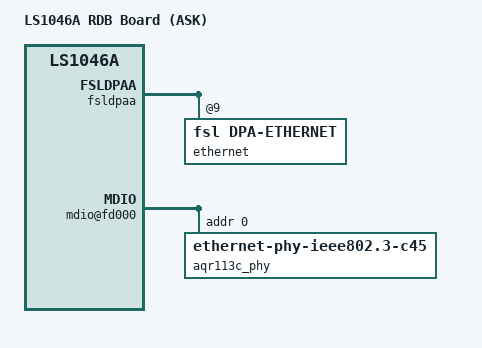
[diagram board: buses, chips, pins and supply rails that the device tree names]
// SPDX-License-Identifier: (GPL-2.0+ OR MIT)
/*
 * LS1046A-RDB with the NXP SDK DPAA/FMan drivers and ASK (CDX) fast path.
 *
 * The board part comes from mainline fsl-ls1046a-rdb.dts. The SDK/ASK part
 * (extended-args, fsl,dpaa bus, offline ports, FMan PCD sub-modules) follows
 * NXP's fsl-ls1046a-rdb-sdk.dts (lf-6.12.49-2.2.0) and mono-gateway-dk.dts,
 * and was checked against the device tree shipped in NXP ASK 10.3.0.B1 for
 * this board.
 *
 * Port map (SDK naming, as NXP ASK): eth0..eth3 = MAC3..MAC6 (1G),
 * eth4 = MAC9 (10GBase-T, AQR113C on this board), eth5 = MAC10 (SFP+).
 */

#include "fsl-ls1046a-rdb.dts"
#include "qoriq-qman-portals-sdk.dtsi"
#include "qoriq-bman-portals-sdk.dtsi"

/ {
	model = "LS1046A RDB Board (ASK)";
	compatible = "fsl,ls1046a-rdb", "fsl,ls1046a";

	cpus {
		fman0-extended-args {
			cell-index = <0x00>;
			compatible = "fsl,fman-extended-args";
			total-fifo-size = <0x3e500>;

			/* Offline ports for CDX - cell-index overridden for SDK compatibility:
			 * fman0_oh_0x3 (port@83000) = cell-index 1 (SDK style)
			 * fman0_oh_0x4 (port@84000) = cell-index 2 (SDK style)
			 */
			fman0_oh_0x3-extended-args {
				cell-index = <0x01>;  /* matches port@83000 SDK cell-index */
				compatible = "fsl,fman-port-op-extended-args";
				fifo-size = <0x3200 0x00>;
				buffer-layout = <0x60 0x40>;
			};

			fman0_oh_0x4-extended-args {
				cell-index = <0x02>;  /* matches port@84000 SDK cell-index */
				compatible = "fsl,fman-port-op-extended-args";
				/* Frames need room for the offline-port pipeline
				 * and internal context as well as the frame itself.
				 */
				fifo-size = <0x3200 0x00>;
				buffer-layout = <0x60 0x40>;
			};

			/* All 1G ports need extended-args (SDK driver requirement) */

			/* MAC1 (ethernet@e0000) - cell-index 0 - disabled but needed */
			fman0_rx0-extended-args {
				cell-index = <0x00>;
				compatible = "fsl,fman-port-1g-rx-extended-args";
				fifo-size = <0x3200 0x00>;
				buffer-layout = <0x60 0x40>;
				vsp-window = <0x02 0x00>;
			};

			fman0_tx0-extended-args {
				cell-index = <0x00>;
				compatible = "fsl,fman-port-1g-tx-extended-args";
				fifo-size = <0x3200 0x00>;
				buffer-layout = <0x60 0x40>;
			};

			/* MAC2 (ethernet@e2000) - cell-index 1 */
			fman0_rx1-extended-args {
				cell-index = <0x01>;
				compatible = "fsl,fman-port-1g-rx-extended-args";
				fifo-size = <0x3200 0x00>;
				buffer-layout = <0x60 0x40>;
				vsp-window = <0x02 0x00>;
			};

			fman0_tx1-extended-args {
				cell-index = <0x01>;
				compatible = "fsl,fman-port-1g-tx-extended-args";
				fifo-size = <0x3200 0x00>;
				buffer-layout = <0x60 0x40>;
			};

			/* MAC3 (ethernet@e4000) - cell-index 2 - disabled but needed */
			fman0_rx2-extended-args {
				cell-index = <0x02>;
				compatible = "fsl,fman-port-1g-rx-extended-args";
				fifo-size = <0x3200 0x00>;
				buffer-layout = <0x60 0x40>;
				vsp-window = <0x02 0x00>;
			};

			fman0_tx2-extended-args {
				cell-index = <0x02>;
				compatible = "fsl,fman-port-1g-tx-extended-args";
				fifo-size = <0x3200 0x00>;
				buffer-layout = <0x60 0x40>;
			};

			/* MAC4 (ethernet@e6000) - cell-index 3 - disabled but needed */
			fman0_rx3-extended-args {
				cell-index = <0x03>;
				compatible = "fsl,fman-port-1g-rx-extended-args";
				fifo-size = <0x3200 0x00>;
				buffer-layout = <0x60 0x40>;
				vsp-window = <0x02 0x00>;
			};

			fman0_tx3-extended-args {
				cell-index = <0x03>;
				compatible = "fsl,fman-port-1g-tx-extended-args";
				fifo-size = <0x3200 0x00>;
				buffer-layout = <0x60 0x40>;
			};

			/* MAC5 (ethernet@e8000) - cell-index 4 */
			fman0_rx4-extended-args {
				cell-index = <0x04>;
				compatible = "fsl,fman-port-1g-rx-extended-args";
				fifo-size = <0x3200 0x00>;
				buffer-layout = <0x60 0x40>;
				vsp-window = <0x02 0x00>;
			};

			fman0_tx4-extended-args {
				cell-index = <0x04>;
				compatible = "fsl,fman-port-1g-tx-extended-args";
				fifo-size = <0x3200 0x00>;
				buffer-layout = <0x60 0x40>;
			};

			/* MAC6 (ethernet@ea000) - cell-index 5 */
			fman0_rx5-extended-args {
				cell-index = <0x05>;
				compatible = "fsl,fman-port-1g-rx-extended-args";
				fifo-size = <0x3200 0x00>;
				buffer-layout = <0x60 0x40>;
				vsp-window = <0x02 0x00>;
			};

			fman0_tx5-extended-args {
				cell-index = <0x05>;
				compatible = "fsl,fman-port-1g-tx-extended-args";
				fifo-size = <0x3200 0x00>;
				buffer-layout = <0x60 0x40>;
			};

			/* MAC9 (ethernet@f0000) - 10G cell-index 0 */
			fman0_rx6-extended-args {
				cell-index = <0x00>;
				compatible = "fsl,fman-port-10g-rx-extended-args";
				fifo-size = <0x6000 0x00>;
				buffer-layout = <0x60 0x40>;
				vsp-window = <0x02 0x00>;
			};

			fman0_tx6-extended-args {
				cell-index = <0x00>;
				compatible = "fsl,fman-port-10g-tx-extended-args";
				fifo-size = <0x4000 0x00>;
				buffer-layout = <0x60 0x40>;
			};

			/* MAC10 (ethernet@f2000) - 10G cell-index 1 */
			fman0_rx7-extended-args {
				cell-index = <0x01>;
				compatible = "fsl,fman-port-10g-rx-extended-args";
				fifo-size = <0x6000 0x00>;
				buffer-layout = <0x60 0x40>;
				vsp-window = <0x02 0x00>;
			};

			fman0_tx7-extended-args {
				cell-index = <0x01>;
				compatible = "fsl,fman-port-10g-tx-extended-args";
				fifo-size = <0x4000 0x00>;
				buffer-layout = <0x60 0x40>;
			};
		};
	};
};

&bman_fbpr {
	compatible = "fsl,bman-fbpr";
	alloc-ranges = <0 0 0x10000 0>;
};
&qman_fqd {
	compatible = "fsl,qman-fqd";
	alloc-ranges = <0 0 0x10000 0>;
};
&qman_pfdr {
	compatible = "fsl,qman-pfdr";
	alloc-ranges = <0 0 0x10000 0>;
};

&soc {
	/delete-property/ dma-coherent;

	#include "qoriq-dpaa-eth.dtsi"

	pcie@3400000 {
		/delete-property/ iommu-map;
	};

	pcie@3500000 {
		/delete-property/ iommu-map;
	};

	pcie@3600000 {
		/delete-property/ iommu-map;
	};

	/delete-node/ iommu@9000000;
};

&fsldpaa {
	ethernet@0 {
		status = "disabled";  /* MAC1 - not wired on LS1046A-RDB */
	};
	ethernet@1 {
		status = "disabled";  /* MAC2 - not wired on LS1046A-RDB */
	};

	/* MAC10 - not in qoriq-dpaa-eth.dtsi */
	ethernet@9 {
		compatible = "fsl,dpa-ethernet";
		fsl,fman-mac = <&enet7>;
		dma-coherent;
	};
};

&fman0 {
	compatible = "fsl,fman", "simple-bus";

	/* Core FMan sub-modules */
	muram@0 {
		compatible = "fsl,fman-muram";
		reg = <0x0 0x60000>;
	};

	bmi@80000 {
		compatible = "fsl,fman-bmi";
		reg = <0x80000 0x400>;
	};

	qmi@80400 {
		compatible = "fsl,fman-qmi";
		reg = <0x80400 0x400>;
	};

	/* PCD sub-modules required for FMC/CDX */
	cc {
		compatible = "fsl,fman-cc";
	};

	policer@c0000 {
		compatible = "fsl,fman-policer";
		reg = <0xc0000 0x1000>;
	};

	keygen@c1000 {
		compatible = "fsl,fman-keygen";
		reg = <0xc1000 0x1000>;
	};

	dma@c2000 {
		compatible = "fsl,fman-dma";
		reg = <0xc2000 0x1000>;
	};

	fpm@c3000 {
		compatible = "fsl,fman-fpm";
		reg = <0xc3000 0x1000>;
	};

	parser@c7000 {
		compatible = "fsl,fman-parser";
		reg = <0xc7000 0x1000>;
	};

	vsps@dc000 {
		compatible = "fsl,fman-vsps";
		reg = <0xdc000 0x1000>;
	};

	/* MAC3..MAC6 (RGMII, SGMII) keep the PHY setup of fsl-ls1046a-rdb.dts */

	ethernet@f0000 { /* 10GEC1, 10GBase-T: AQR113C on this board */
		phy-handle = <&aqr113c_phy>;
		phy-connection-type = "xgmii";
	};

	ethernet@f2000 { /* 10GEC2, SFP+ cage, no PHY */
		/delete-property/ managed;
		fixed-link = <0 1 10000 0 0>;
		phy-connection-type = "xgmii";
	};

	mdio@fd000 {
		/* The AQR113C has no flash: the kernel uploads its firmware
		 * over this bus, about 276000 writes, and the drivers probed
		 * after it wait: 27 s of boot at the MDC frequency U-Boot
		 * leaves. 2.5 MHz is the rate every IEEE 802.3 PHY has to
		 * take. The AQR113C is the only device on this bus.
		 */
		clocks = <&clockgen QORIQ_CLK_FMAN 0>;
		clock-frequency = <2500000>;

		/delete-node/ ethernet-phy@0;

		aqr113c_phy: ethernet-phy@0 {
			compatible = "ethernet-phy-ieee802.3-c45";
			interrupts = <0 131 4>;
			reg = <0x0>;
			firmware-name = "AQR113C.cld";
		};
	};

	/* DPA offline ports used by CDX */
	dpa-fman0-oh@2 {
		compatible = "fsl,dpa-oh";
		fsl,qman-frame-queues-oh = <0x60 0x01 0x61 0x01>;
		fsl,fman-oh-port = <&fman0_oh_0x3>;
	};

	dpa-fman0-oh@3 {
		compatible = "fsl,dpa-oh";
		fsl,qman-frame-queues-oh = <0x62 0x01 0x63 0x01>;
		fsl,fman-oh-port = <&fman0_oh_0x4>;
	};

	/* SDK-style cell-index (0..5); port@82000 is the host-command port */
	port@82000 {
		cell-index = <0>;
		compatible = "fsl,fman-port-oh";
	};

	port@83000 {
		cell-index = <1>;
		compatible = "fsl,fman-port-oh";
	};

	port@84000 {
		cell-index = <2>;
		compatible = "fsl,fman-port-oh";
	};

	port@85000 {
		cell-index = <3>;
		compatible = "fsl,fman-port-oh";
	};

	port@86000 {
		cell-index = <4>;
		compatible = "fsl,fman-port-oh";
	};

	port@87000 {
		cell-index = <5>;
		compatible = "fsl,fman-port-oh";
	};
};

&clockgen {
	dma-coherent;
};

&scfg {
	dma-coherent;
};

&crypto {
	dma-coherent;
};

&dcfg {
	dma-coherent;
};

&ifc {
	dma-coherent;
};

&qspi {
	dma-coherent;
};

&esdhc {
	dma-coherent;
};

&ddr {
	dma-coherent;
};

&tmu {
	dma-coherent;
};

&qman {
	dma-coherent;
};

&bman {
	dma-coherent;
};

&bportals {
	dma-coherent;
};

&qportals {
	dma-coherent;
};

&dspi {
	dma-coherent;
};

&i2c0 {
	dma-coherent;
};

&i2c1 {
	dma-coherent;
};

&i2c2 {
	dma-coherent;
};

&i2c3 {
	dma-coherent;
};

&duart0 {
	dma-coherent;
};

&duart1 {
	dma-coherent;
};

&duart2 {
	dma-coherent;
};

&duart3 {
	dma-coherent;
};

&gpio0 {
	dma-coherent;
};

&gpio1 {
	dma-coherent;
};

&gpio2 {
	dma-coherent;
};

&gpio3 {
	dma-coherent;
};

&lpuart0 {
	dma-coherent;
};

&lpuart1 {
	dma-coherent;
};

&lpuart2 {
	dma-coherent;
};

&lpuart3 {
	dma-coherent;
};

&lpuart4 {
	dma-coherent;
};

&lpuart5 {
	dma-coherent;
};

&ftm_alarm0 {
	dma-coherent;
};

&wdog0 {
	dma-coherent;
};

&edma0 {
	dma-coherent;
};

&sata {
	dma-coherent;
};

&qdma {
	dma-coherent;
};

&msi1 {
	dma-coherent;
};

&msi2 {
	dma-coherent;
};

&msi3 {
	dma-coherent;
};

&fman0 {
	dma-coherent;
};

&ptp_timer0 {
	dma-coherent;
};

&fsldpaa {
	dma-coherent;
};
